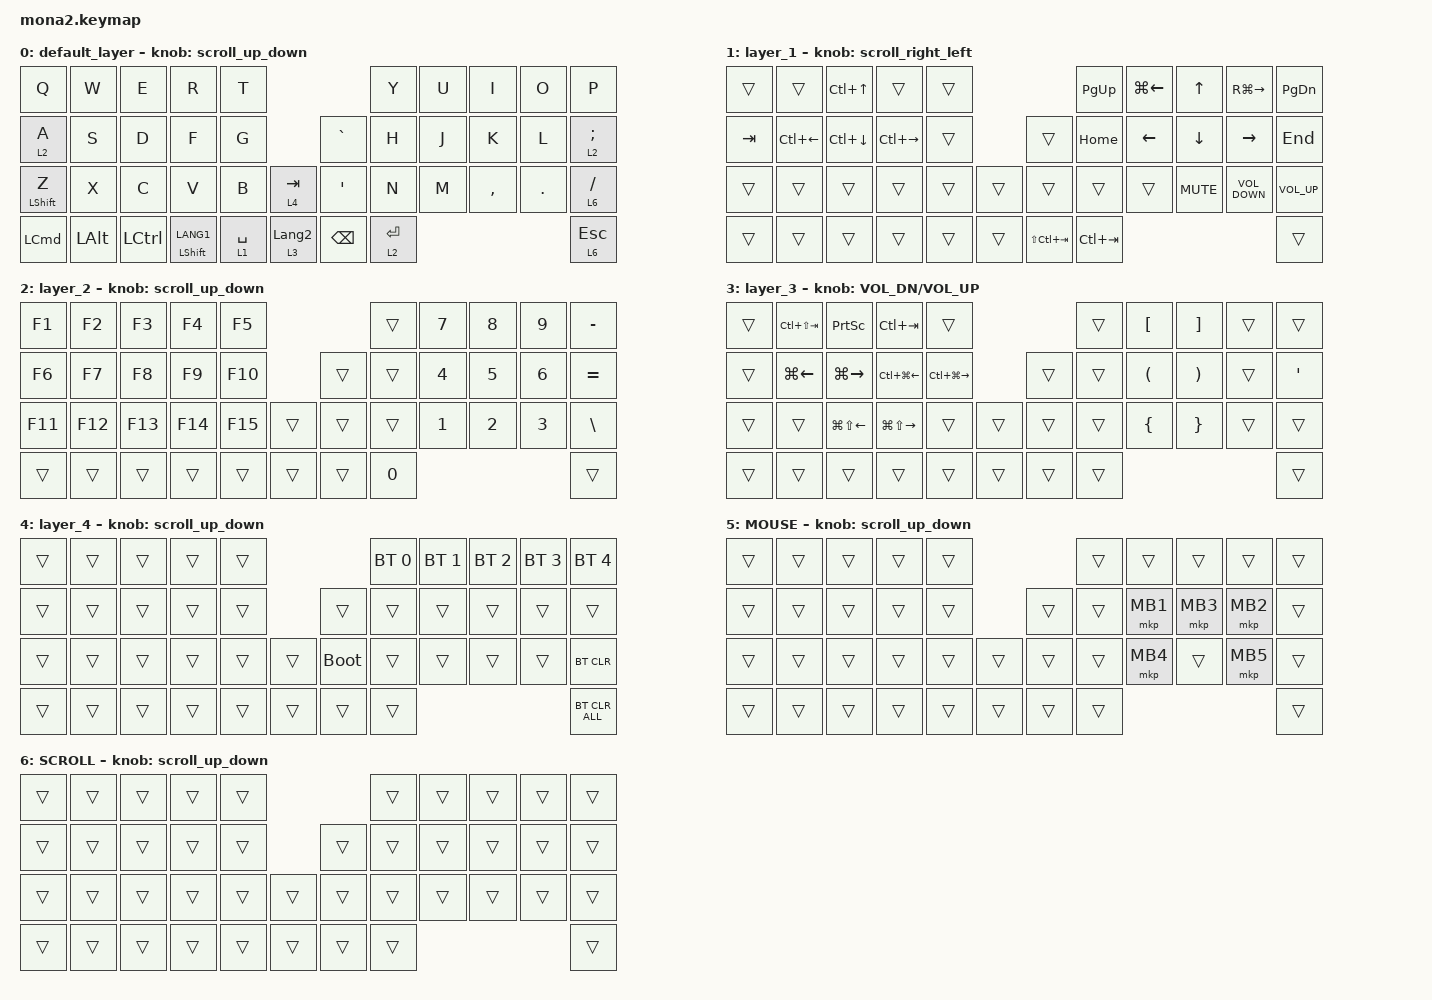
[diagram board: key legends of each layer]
#include <input/processors.dtsi>
#include <dt-bindings/zmk/input_transform.h>
#include <zephyr/dt-bindings/input/input-event-codes.h>
#include <behaviors.dtsi>
#include <dt-bindings/zmk/bt.h>
#include <dt-bindings/zmk/keys.h>
#include <dt-bindings/zmk/pointing.h>

#define ZMK_POINTING_DEFAULT_SCRL_VAL 100
#define MOUSE 5
#define SCROLL 6

&mt {
    flavor = "balanced";
    quick-tap-ms = <0>;
};

&lt {
    quick-tap-ms = <300>;
    flavor = "balanced";
};

/ {
    combos {
        compatible = "zmk,combos";

        layer4_ESC {
            bindings = <&lt 4 ESC>;
            key-positions = <39 38>;
        };

        tab {
            bindings = <&kp TAB>;
            key-positions = <11 12>;
        };
    };

    macros {
        to_layer_0: to_layer_0 {
            compatible = "zmk,behavior-macro-one-param";
            #binding-cells = <1>;
            bindings = <&to 0 &macro_param_1to1 &kp MACRO_PLACEHOLDER>;
            label = "TO_LAYER_0";
        };
    };

    behaviors {
        lt_to_layer_0: lt_to_layer_0 {
            compatible = "zmk,behavior-hold-tap";
            label = "LAYER_TAP_TO_0";
            bindings = <&mo>, <&to_layer_0>;

            #binding-cells = <2>;
            tapping-term-ms = <200>;
        };

        scroll_up_down: mouse_wheel_up_down {
            compatible = "zmk,behavior-sensor-rotate";
            #sensor-binding-cells = <0>;
            bindings = <&msc SCRL_DOWN>, <&msc SCRL_UP>;

            tap-ms = <20>;
        };

        scroll_right_left: mouse_wheel_right_left {
            compatible = "zmk,behavior-sensor-rotate";
            #sensor-binding-cells = <0>;
            bindings = <&msc SCRL_LEFT>, <&msc SCRL_RIGHT>;

            tap-ms = <20>;
        };
    };

    keymap {
        compatible = "zmk,keymap";

        default_layer {
            bindings = <
&kp Q             &kp W         &kp E      &kp R                 &kp T                                           &kp Y        &kp U  &kp I      &kp O    &kp P
&lt 2 A           &kp S         &kp D      &kp F                 &kp G                            &kp GRAVE      &kp H        &kp J  &kp K      &kp L    &lt 2 SEMI
&mt LEFT_SHIFT Z  &kp X         &kp C      &kp V                 &kp B        &lt 4 TAB           &kp SQT        &kp N        &kp M  &kp COMMA  &kp DOT  &lt 6 SLASH
&kp LEFT_COMMAND  &kp LEFT_ALT  &kp LCTRL  &mt LEFT_SHIFT LANG1  &lt 1 SPACE  &lt 3 LANGUAGE_2    &kp BACKSPACE  &lt 2 ENTER                             &lt 6 ESC
            >;

            sensor-bindings = <&scroll_up_down>;
        };

        layer_1 {
            bindings = <
&trans   &trans              &kp LC(UP_ARROW)    &trans               &trans                             &kp PG_UP    &kp LG(LEFT_ARROW)  &kp UP_ARROW    &kp RG(RIGHT_ARROW)  &kp PG_DN
&kp TAB  &kp LC(LEFT_ARROW)  &kp LC(DOWN_ARROW)  &kp LC(RIGHT_ARROW)  &trans            &trans           &kp HOME     &kp LEFT_ARROW      &kp DOWN_ARROW  &kp RIGHT_ARROW      &kp END
&trans   &trans              &trans              &trans               &trans  &trans    &trans           &trans       &trans              &kp K_MUTE      &kp C_VOLUME_DOWN    &kp C_VOLUME_UP
&trans   &trans              &trans              &trans               &trans  &trans    &kp LS(LC(TAB))  &kp LC(TAB)                                                           &trans
            >;

            sensor-bindings = <&scroll_right_left>;
        };

        layer_2 {
            bindings = <
&kp F1   &kp F2   &kp F3   &kp F4   &kp F5                     &trans        &kp N7  &kp NUMBER_8  &kp N9        &kp MINUS
&kp F6   &kp F7   &kp F8   &kp F9   &kp F10            &trans  &trans        &kp N4  &kp N5        &kp NUMBER_6  &kp EQUAL
&kp F11  &kp F12  &kp F13  &kp F14  &kp F15  &trans    &trans  &trans        &kp N1  &kp N2        &kp N3        &kp BSLH
&trans   &trans   &trans   &trans   &trans   &trans    &trans  &kp NUMBER_0                                      &trans
            >;

            sensor-bindings = <&scroll_up_down>;
        };

        layer_3 {
            bindings = <
&trans  &kp LC(LS(TAB))     &kp PRINTSCREEN         &kp LC(TAB)              &trans                                     &trans  &kp LBKT              &kp RBKT               &trans  &trans
&trans  &kp LG(LEFT_ARROW)  &kp LG(RIGHT_ARROW)     &kp LC(LG(LEFT_ARROW))   &kp LC(LG(RIGHT_ARROW))            &trans  &trans  &kp LEFT_PARENTHESIS  &kp RIGHT_PARENTHESIS  &trans  &kp SQT
&trans  &trans              &kp LG(LS(LEFT_ARROW))  &kp LG(LS(RIGHT_ARROW))  &trans                   &trans    &trans  &trans  &kp LEFT_BRACE        &kp RIGHT_BRACE        &trans  &trans
&trans  &trans              &trans                  &trans                   &trans                   &trans    &trans  &trans                                                       &trans
            >;

            sensor-bindings = <&inc_dec_kp C_VOL_DN C_VOL_UP>;
        };

        layer_4 {
            bindings = <
&trans  &trans  &trans  &trans  &trans                         &bt BT_SEL 0  &bt BT_SEL 1  &bt BT_SEL 2  &bt BT_SEL 3  &bt BT_SEL 4
&trans  &trans  &trans  &trans  &trans            &trans       &trans        &trans        &trans        &trans        &trans
&trans  &trans  &trans  &trans  &trans  &trans    &bootloader  &trans        &trans        &trans        &trans        &bt BT_CLR
&trans  &trans  &trans  &trans  &trans  &trans    &trans       &trans                                                  &bt BT_CLR_ALL
            >;

            sensor-bindings = <&scroll_up_down>;
        };

        MOUSE {
            bindings = <
&trans  &trans  &trans  &trans  &trans                    &trans  &trans    &trans    &trans    &trans
&trans  &trans  &trans  &trans  &trans            &trans  &trans  &mkp MB1  &mkp MB3  &mkp MB2  &trans
&trans  &trans  &trans  &trans  &trans  &trans    &trans  &trans  &mkp MB4  &trans    &mkp MB5  &trans
&trans  &trans  &trans  &trans  &trans  &trans    &trans  &trans                                &trans
            >;

            sensor-bindings = <&scroll_up_down>;
        };

        SCROLL {
            bindings = <
&trans  &trans  &trans  &trans  &trans                    &trans  &trans  &trans  &trans  &trans
&trans  &trans  &trans  &trans  &trans            &trans  &trans  &trans  &trans  &trans  &trans
&trans  &trans  &trans  &trans  &trans  &trans    &trans  &trans  &trans  &trans  &trans  &trans
&trans  &trans  &trans  &trans  &trans  &trans    &trans  &trans                          &trans
            >;

            sensor-bindings = <&scroll_up_down>;
        };
    };
};
